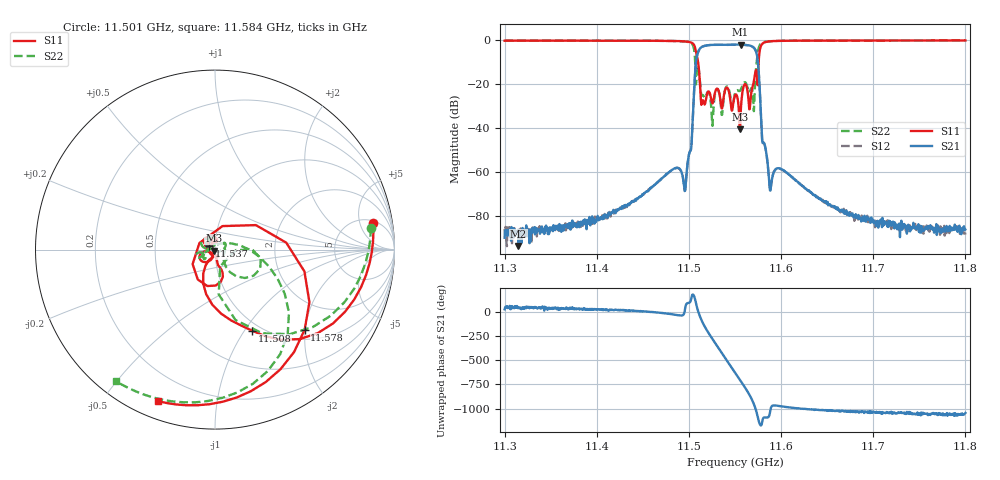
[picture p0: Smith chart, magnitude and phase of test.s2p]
# Hz S DB R 50
! Planar, S50244, 24171007, 25.4.1/6
! Date: 10.10.2025 12:58:30
! Data: Format (Calibration Info)
! Freq	S11:dB/Ang(F2)	S21:dB/Ang(F2)	S12:dB/Ang(F2)	S22:dB/Ang(F2)
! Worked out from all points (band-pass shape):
!   1001 points, 11.3 GHz to 11.8 GHz, reference 50 ohm
!   highest |S21| = -2.07 dB at 11.556 GHz (marker M1); lowest = -93.4 dB at 11.315 GHz (marker M2)
!   |S21| within 3 dB of the highest: 11.51 GHz to 11.573 GHz (62.25 MHz wide, 0.539 % of centre)
!   lowest |S11| = -40.6 dB at 11.556 GHz (marker M3), VSWR 1.02, Z = 49.3 - j0.642 ohm
!   |S11| at or under -10 dB: 11.51 GHz to 11.576 GHz (65.81 MHz wide, 0.57 % of centre)
!   |S22| runs from -39.0 to -0.2 dB; largest |S21 - S12| = 0.0057
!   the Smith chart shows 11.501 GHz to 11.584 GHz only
!   S11 on the Smith chart (normalised r, x): 11.501 GHz: 5.58, +8.22; 11.508 GHz: 0.91, -1.09; 11.537 GHz: 0.93, +0.04; 11.578 GHz: 1.23, -1.98; 11.584 GHz: 0.08, -0.69
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1.13e10  -0.31 146.8  -89.76 27.8  -85.74 68.2  -0.32 143.9
1.1315e10  -0.31 144.0  -93.45 39.6  -86.17 44.9  -0.31 141.1
1.13835e10  -0.32 128.2  -83.48 33.7  -82.89 34.5  -0.32 126.0
1.1467e10  -0.37 87.7  -64.05 -6.5  -64.20 -6.7  -0.37 87.6
1.1501e10  -0.98 9.6  -50.66 100.0  -50.66 100.1  -1.14 7.9
1.1508e10  -6.06 -65.2  -8.87 77.1  -8.91 77.8  -18.62 -1.2
1.15145e10  -27.76 -63.9  -3.04 -101.9  -3.03 -101.8  -24.98 -7.3
1.15195e10  -24.83 127.9  -2.46 170.6  -2.45 170.5  -24.15 37.2
1.15255e10  -28.81 96.8  -2.21 80.8  -2.20 80.6  -38.98 -103.9
1.1531e10  -22.15 101.2  -2.19 2.8  -2.20 2.7  -22.25 111.8
1.1537e10  -28.06 150.6  -2.18 -82.9  -2.18 -83.0  -29.06 171.9
1.15435e10  -23.57 110.4  -2.17 -175.8  -2.19 -175.9  -22.68 126.8
1.155e10  -25.16 168.6  -2.11 91.9  -2.12 91.8  -24.27 -166.1
1.15555e10  -40.59 -135.8  -2.07 15.3  -2.10 15.3  -23.05 -161.9
1.1556e10  -34.67 -107.8  -2.07 8.3  -2.10 8.3  -22.75 -158.8
1.1562e10  -20.44 -155.8  -2.28 -78.4  -2.29 -78.5  -19.66 -167.3
1.1567e10  -26.45 -82.3  -2.64 -160.8  -2.68 -160.8  -22.40 -136.8
1.15775e10  -3.48 -41.8  -27.83 -90.6  -27.95 -90.9  -1.88 -81.0
1.15835e10  -0.89 -110.7  -50.12 -12.2  -50.16 -12.2  -0.75 -127.1
1.16335e10  -0.29 163.4  -69.49 70.9  -69.56 70.2  -0.29 158.4
1.1717e10  -0.24 132.1  -82.04 33.9  -84.10 38.3  -0.24 129.2
1.18e10  -0.21 114.8  -86.03 35.0  -88.30 16.4  -0.21 112.7
